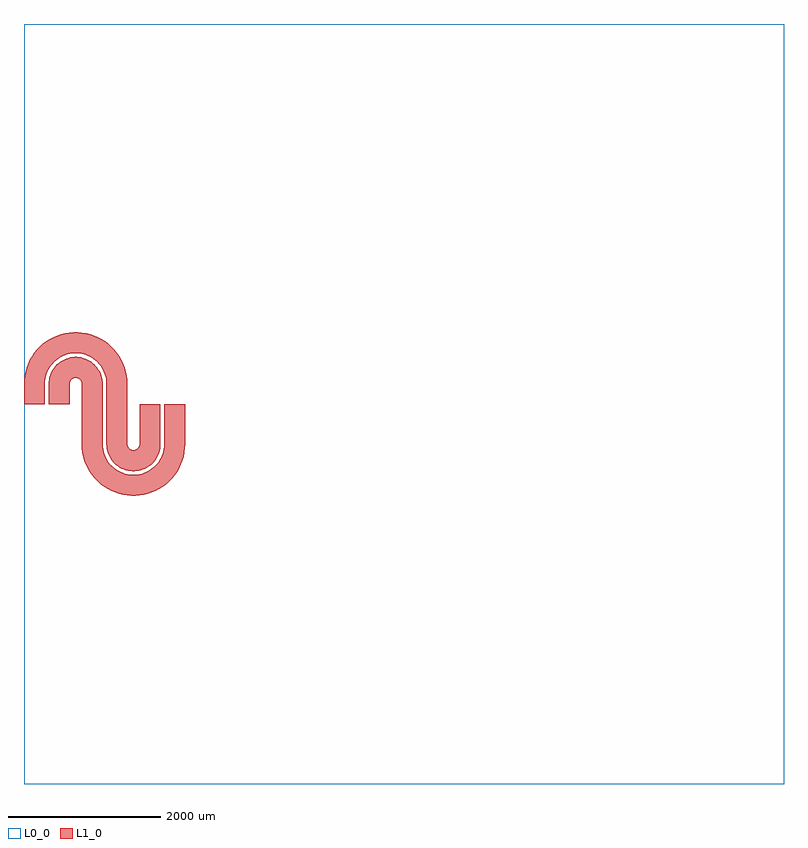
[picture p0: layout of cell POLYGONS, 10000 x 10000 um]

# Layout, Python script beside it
#!/usr/bin/env python
import os
from resgds import *
import bragg
from interface import Interface
import gdspy # gds library
import numpy as np
#from subprocess import call # Use to call kaloput_viewer bash script
#import psutil # Use to check if klayout is running already

# Layout filename
layout_file ='design.gds'

# Parameters
#__________________________________________________________
sub_x, sub_y = [4000, 9000] # substrate dimensions
wc, gc, lc = [8.11, 17.85, 8108.45] # Cavity width, gap, length
wlow, llow = [30.44, 4051.32]  # Low Z section
whigh, lhigh = [2, 4051.32] # High Z section
glow, ghigh = [.5*(wc + 2*gc - wlow),.5*(wc + 2*gc - whigh)]

rext, rlow, rhigh = [0, 55, 55] # radii

lext1, lext2 = [400, 1200] # Extrude lengths
lext3 = llow - lext1 - lext2 - 500*np.pi - 150*np.pi

# Start making resonator geometry
############################################################################

# Setup gds cell and gds object
poly_cell = gdspy.Cell('POLYGONS')
rs = Shapes(poly_cell)

# Substrate [layer 0]
sub = BuildRect(poly_cell, sub_x, sub_y, layer=0)
sub.make(0,0)

# Antidot array [layer 1]
layout = LayoutComponents(poly_cell, sub_x, sub_y,layer=1)
layout.make_antidot_array(0,0,10,30,0)

# Cavity [layer 2]
# I assign coordinates first, and then build geometries accordingly
############################################################################
coords = lambda x,dx=0: x+dx
xb_strt,yb_strt = [coords(725),coords(sub_y/2)- lext2 - lext3 - 100]
lcav1, lcav2, lcav3 = [1000, 5500, 1000]
taper_length = 100

cavity = Trench(wc, gc, poly_cell, layer = 2)

cav_x0,cav_y0 = [coords(xb_strt),coords(yb_strt,-lcav1)]
strait = cavity.straight_trench(lcav1-taper_length, cav_x0, cav_y0, orient='V')

cav_xtaper, cav_ytaper = [coords(xb_strt),coords(yb_strt,-taper_length)]

# cavity.thinning_trench(w1, w2, rat, cav_xtaper, cav_ytaper, 
#         taper_length, orientation='N',strait=strait)

cavity.taper(wc, gc, wlow, glow, cav_x0, 
        cav_y0+lcav1-taper_length, cav_x0, cav_y0+lcav1)

cav_x1,cav_y1 = [coords(xb_strt,-rlow),coords(yb_strt,-lcav1)]
cavity.halfarc_trench(rlow,cav_x1,cav_y1,orient='S',npoints=40)

cav_x2,cav_y2 = [coords(xb_strt,-2*rlow-wlow-2*glow),coords(yb_strt,-lcav1)]
cavity.straight_trench(lcav2,cav_x2,cav_y2,orient='V')

cav_x3,cav_y3 = [coords(xb_strt,-rlow),coords(yb_strt,lcav2-lcav1)]
cavity.halfarc_trench(rlow,cav_x3,cav_y3,orient='N',npoints=40)

cav_x4,cav_y4 = [coords(xb_strt),coords(yb_strt,lcav2-lcav1-lcav3+taper_length)]
cavend = cavity.straight_trench(lcav3-taper_length,cav_x4,cav_y4,orient='V')

cavity.taper(wlow, glow, wc, gc, cav_x4, 
       cav_y4-taper_length, cav_x4, cav_y4)

# Cavity removes [layer 3]
############################################################################

# Cavity Removes
rm_width = 4*wc + 2*gc
arcrad = .5*(2*rlow - gc - wc)

# Lower cevity extrude straight remove
cav_x0r, cav_y0r = [coords(cav_x0,-rm_width/2+wc/2+gc),coords(cav_y0)]
cavity_remove = BuildRect(poly_cell,rm_width, lcav1, layer = 3)
straight_remove_L = cavity_remove.make(cav_x0r,cav_y0r,layer=3)

# Centre cavity straight remove
#cav_x1r, cav_y1r = [coords(cav_x0,-2*rlow-wlow-2*glow-rm_width/2),coords(yb_strt,-lcav1)]
cav_x1r, cav_y1r = [coords(cav_x2,-rm_width/2 + gc + wc/2),coords(yb_strt,-lcav1)]
cavity_remove = BuildRect(poly_cell,rm_width, lcav2, layer = 3)
straight_remove_C = cavity_remove.make(cav_x1r,cav_y1r,layer=3)

# Upper cavity straight remove
cav_x2r, cav_y2r = [coords(cav_x4,-rm_width/2 + wc/2+gc),coords(cav_y4)]
cavity_remove = BuildRect(poly_cell,rm_width, lcav3, layer = 3)
straight_remove_U = cavity_remove.make(cav_x2r,cav_y2r-taper_length,layer=3)

# Lower cavity halfarc remove
rad = (cav_x0r - (cav_x1r + rm_width))/2
cav_xhfrL, cav_yhfrL = [coords(cav_x0r, - rad),coords(cav_y1)]
cav_harc_remove = rs.make_halfarc(rad, rm_width,
	cav_xhfrL, cav_yhfrL, orientation='S', npoints=40, layer=3) 

# Upper cavity halfarc remove
cav_xhfrU, cav_yhfrU = [coords(cav_x0r, - rad),coords(cav_y1,lcav2)]
cav_harc_remove = rs.make_halfarc(rad, rm_width,
	cav_xhfrU, cav_yhfrU, orientation='N', npoints=40, layer=3) 

# Bragg Mirror Sections [layer 2]
###########################################################################
no_periods = 4
highZ = bragg.Bragg(whigh, ghigh, lhigh, poly_cell, radius=rhigh, layer=2)
lowZ = bragg.Bragg(wlow, glow, llow, poly_cell, radius=rlow, layer=2)

# Vectors to store shifting numbers for making mirrors
arr_l = np.repeat(np.arange(0,no_periods),2*np.ones(no_periods,dtype=int))
arr_h = np.append(arr_l[1:],[no_periods], axis=0)

# Make lower Bragg periods
make_lowZ = lambda i: lowZ.mirror(xb_strt + arr_h[i]*highZ.mirror_width()
        + arr_l[i]*lowZ.mirror_width(), yb_strt, w_remove=wc, g_remove=gc)

make_highZ = lambda i: highZ.mirror(xb_strt + arr_h[i]*highZ.mirror_width()
        + arr_l[i]*lowZ.mirror_width(), yb_strt, w_remove=wc, g_remove=gc)

[make_lowZ(x) for x in range(len(arr_l)) if x % 2 == 0]
[make_highZ(x) for x in range(len(arr_l)) if x % 2 == 1]

# Make upper Bragg periods
xb_strtr = xb_strt
yb_strtr = cavend[1][0][1] - taper_length

make_lowZ = lambda i: lowZ.rotate_mirror2(xb_strtr + arr_h[i]*highZ.mirror_width()
        + arr_l[i]*lowZ.mirror_width(), yb_strtr,w_remove=wc, g_remove=gc)

make_highZ = lambda i: highZ.rotate_mirror2(xb_strtr + arr_h[i]*highZ.mirror_width()
        + arr_l[i]*lowZ.mirror_width(), yb_strtr,w_remove=wc, g_remove = gc)

[make_lowZ(x) for x in range(len(arr_l)) if x % 2 == 0]
[make_highZ(x) for x in range(len(arr_l)) if x % 2 == 1]


# Feedline sections [layer 2]
#
#

# Lower feed sections 
#
l1, l2, l3, arc = highZ.section_lengths(wc,gc)
cc, ratio, bond_pad, rfeed = [2*ghigh, .5, 400, 100]
feedin_length, feedlink_length, feed_st_length = [100,685,1600]
rstrt = rlow + 100
rlow = 100

# Low Z feedline sections 
feedline_low = Trench(wlow,glow,poly_cell, layer=2)

xf0Low = xb_strtr + no_periods*(lowZ.mirror_width() + highZ.mirror_width())
yf0Low = yb_strt
feedline_low.straight_trench(l1,xf0Low,yf0Low,orient='V')

xf1Low,yf1Low = [coords(xf0Low,rstrt+2*gc+wc),coords(yf0Low,l1)]
feedline_low.halfarc_trench(rstrt,xf1Low, yf1Low,orient='N',npoints=40)

xf2Low,yf2Low = [coords(xf1Low,rstrt),coords(yf1Low)]
feedline_low.straight_trench(-l2,xf2Low,yf2Low,orient='V')

xf3Low,yf3Low = [coords(xf2Low),coords(yf2Low,-l2)]
feedline_low.straight_trench(-l3/4,xf3Low,yf3Low,orient='V')

xf4Low,yf4Low = [coords(xf3Low,-rlow),coords(yf3Low,-l3/4)]
feedline_low.quarterarc_trench(rlow,xf4Low,yf4Low,orient='SE',npoints=20)

xf5Low,yf5Low = [coords(xf4Low,-3*l3/4-arc/2+230),coords(yf4Low,-2*glow - wlow - rlow)]
feedline_low.straight_trench(3*l3/4+arc/2-230,xf5Low,yf5Low,orient='H')

# High Z feedline sections
feedline_high = Trench(whigh,ghigh,poly_cell, layer=2)

xf0High,yf0High = [coords(xf5Low,-l2-733/2),coords(yf5Low)]
feedline_high.straight_trench(l2+733/2,xf0High,yf0High,orient='H')

xf1High,yf1High = [coords(xf0High),coords(yf0High,-rhigh)]
feedline_high.halfarc_trench(rhigh,xf1High, yf1High,orient='W',npoints=40)

xf2High,yf2High = [coords(xf1High),coords(yf1High,-rhigh - 2*ghigh - whigh)]
feedline_high.straight_trench(l3+l1-733/2,xf2High,yf2High,orient='H')

xf3High,yf3High = [coords(xf2High,l3+l1-733/2),coords(yf2High,-rhigh)]
feedline_high.quarterarc_trench(rhigh,xf3High,yf3High,orient='NE',npoints=20)

xf4High,yf4High = [coords(xf3High,rhigh),coords(yf3High,-arc/2)]
feedline_high.straight_trench(arc/2,xf4High,yf4High,orient='V')

# Lower feedbond
xf5High,yf5High = [coords(xf4High,-2*whigh-4*ghigh),coords(yf4High-arc/2)]
feed_lower = LayoutComponents(poly_cell, xf5High,yf5High, width=whigh, gap=ghigh, layer=2)
feedbond = feed_lower.make_feedbond(arc/2,cc, ratio, bond_pad, 
	xf4High, yf4High, orientation='N')

# Lower feed removes
x0_fdRem_L, y0_fdRem_L = [coords(xf0Low,-rm_width/2 + wlow/2 + glow),coords(yf0Low,l1)]
feed_remove_L = BuildRect(poly_cell,rm_width, -l1, layer = 3)
feed_remove_L.make(x0_fdRem_L,y0_fdRem_L,layer=3)

rad_feed = abs(.5*(x0_fdRem_L - (xf2Low + .5*(whigh + 2*ghigh) + rm_width/2)))

x1_fdRem_L, y1_fdRem_L = [coords(x0_fdRem_L + rad_feed),coords(yf1Low)]
rs.make_halfarc(-rad_feed, rm_width, x1_fdRem_L, y1_fdRem_L, 
	orientation='S', npoints=40, layer=3) 

x2_fdRem_L, y2_fdRem_L = [coords(x1_fdRem_L,rad_feed-rm_width),coords(y1_fdRem_L)]
feed_remove_L = BuildRect(poly_cell,rm_width, -l2-l3/4, layer = 3)
feed_remove_L.make(x2_fdRem_L,y2_fdRem_L,layer=3)

rqarc = x2_fdRem_L+rm_width-xf4Low

x3_fdRem_L, y3_fdRem_L = [coords(x2_fdRem_L-rqarc+rm_width),coords(y2_fdRem_L,-l2-l3/4)]
rs.make_quarterarc(rqarc, -rm_width, x3_fdRem_L, y3_fdRem_L, 
	orientation='SE', npoints=20, layer=3) 

x4_fdRem_L, y4_fdRem_L = [coords(x3_fdRem_L),coords(y3_fdRem_L,-rqarc)]
feed_remove_L = BuildRect(poly_cell,-3*l3/4-arc/2+230-l2-733/2,rm_width, layer = 3)
feed_remove_L.make(x4_fdRem_L,y4_fdRem_L,layer=3)

rharc = abs(.5*(y4_fdRem_L - (yf2High + .5*(whigh + 2*ghigh) + rm_width/2)))
x5_fdRem_L, y5_fdRem_L = [coords(x4_fdRem_L,-3*l3/4-arc/2+230-l2-733/2),coords(y4_fdRem_L,-rharc)]
rs.make_halfarc(rharc, rm_width, x5_fdRem_L, y5_fdRem_L, 
	orientation='W', npoints=40, layer=3) 

x6_fdRem_L, y6_fdRem_L = [coords(x5_fdRem_L),coords(y5_fdRem_L,-rharc-rm_width)]
feed_remove_L = BuildRect(poly_cell,l1+l3-733/2,rm_width, layer = 3)
feed_remove_L.make(x6_fdRem_L,y6_fdRem_L,layer=3)

x7_fdRem_L, y7_fdRem_L = [coords(x6_fdRem_L,l1+l3-733/2),coords(y6_fdRem_L)]
rqarc2 = xf4High+rm_width-x7_fdRem_L-12
rs.make_quarterarc(-rqarc2, rm_width, x7_fdRem_L, y7_fdRem_L-rqarc2+rm_width, 
	orientation='SW', npoints=20, layer=3) 

x8_fdRem_L, y8_fdRem_L = [coords(x7_fdRem_L,rharc),coords(y7_fdRem_L,-arc/2-rharc)]
feed_remove_L = BuildRect(poly_cell,rm_width, arc/2, layer = 3)
feed_remove_L.make(x8_fdRem_L,y8_fdRem_L,layer=3)

feed_remove = feed_lower.make_feedbond_remove(arc/2,cc, ratio, 
        bond_pad, x8_fdRem_L,y8_fdRem_L,x8_fdRem_L,
        y8_fdRem_L,x8_fdRem_L+rm_width, orientation='N')

# Upper feedline sections
#

# Low Z feedline sections
feedline_low = Trench(wlow,glow,poly_cell, layer=2)

xf0Low= xb_strtr + no_periods*(lowZ.mirror_width() + highZ.mirror_width())
yf0Low = yb_strtr
feedline_low.straight_trench(-l1,xf0Low,yf0Low,orient='V')

xf1Low,yf1Low = [coords(xf0Low,rstrt+2*gc+wc),coords(yf0Low,-l1)]
feedline_low.halfarc_trench(rstrt,xf1Low, yf1Low,orient='S',npoints=40)

xf2Low,yf2Low = [coords(xf1Low,rstrt),coords(yf1Low)]
feedline_low.straight_trench(l2,xf2Low,yf2Low,orient='V')

xf3Low,yf3Low = [coords(xf2Low),coords(yf2Low,l2)]
feedline_low.straight_trench(l3/4,xf3Low,yf3Low,orient='V')

xf4Low,yf4Low = [coords(xf3Low,-rlow),coords(yf3Low,l3/4)]
feedline_low.quarterarc_trench(rlow,xf4Low,yf4Low,orient='NE',npoints=20)

xf5Low,yf5Low = [coords(xf4Low,-3*l3/4-arc/2),coords(yf4Low,rlow)]
feedline_low.straight_trench(3*l3/4+arc/2,xf5Low,yf5Low,orient='H')

# High Z feedline sections
xf0High,yf0High = [coords(xf5Low,-l2),coords(yf5Low)]
feedline_high.straight_trench(l2,xf0High,yf0High,orient='H')

xf1High,yf1High = [coords(xf0High),coords(yf0High,rhigh + 2*ghigh + whigh)]
feedline_high.halfarc_trench(rhigh,xf1High, yf1High,orient='W',npoints=40)

xf2High,yf2High = [coords(xf1High),coords(yf1High,rhigh )]
feedline_high.straight_trench(l3+l1-733/2,xf2High,yf2High,orient='H')

xf3High,yf3High = [coords(xf2High,l3+l1-733/2),coords(yf2High,rhigh + 2*ghigh + whigh)]
feedline_high.quarterarc_trench(rhigh,xf3High,yf3High,orient='SE',npoints=20)

xf4High,yf4High = [coords(xf3High,rhigh),coords(yf3High)]
feedline_high.straight_trench(arc/2,xf4High,yf4High,orient='V')

# Lower feedbond
xf5High,yf5High = [coords(xf4High,-2*whigh-4*ghigh),coords(yf4High-arc/2)]
feed_lower = LayoutComponents(poly_cell, xf5High,yf5High, width=whigh, gap=ghigh, layer=2)
feedbond = feed_lower.make_feedbond(arc/2,cc, ratio, bond_pad, 
	xf4High, yf4High+arc/2, orientation='S')

# # Upper feed removes
# x0_fdRem_U, y0_fdRem_U = [coords(xf0Low,-rm_width/2 + wlow/2 + glow),coords(yf0Low,-l1)]
# feed_remove_U = BuildRect(poly_cell,rm_width, l1, layer = 3)
# feed_remove_U.make(x0_fdRem_U,y0_fdRem_U,layer=3)


# x1_fdRem_U, y1_fdRem_U = [coords(x0_fdRem_U + rad_feed),coords(yf1Low)]
# rs.make_halfarc(-rad_feed, rm_width, x1_fdRem_U, y1_fdRem_U, 
# 	orientation='N', npoints=40, layer=3) 

# x2_fdRem_U, y2_fdRem_U = [coords(x1_fdRem_U,rad_feed-rm_width),coords(y1_fdRem_U)]
# feed_remove_U = BuildRect(poly_cell,rm_width, l2+l3/4, layer = 3)
# feed_remove_U.make(x2_fdRem_U,y2_fdRem_U,layer=3)

# x3_fdRem_U, y3_fdRem_U = [coords(x1_fdRem_U),coords(y2_fdRem_U,l2+l3/4)]
# rs.make_quarterarc(-rad_feed, rm_width, x3_fdRem_U, y3_fdRem_U, 
# 	orientation='SW', npoints=20, layer=3) 

# x4_fdRem_U, y4_fdRem_U = [coords(x3_fdRem_U),coords(y3_fdRem_U,rad_feed-rm_width)]
# feed_remove_U = BuildRect(poly_cell,-l2-3*l3/4-arc/2,rm_width, layer = 3)
# feed_remove_U.make(x4_fdRem_U,y4_fdRem_U,layer=3)

# x5_fdRem_U, y5_fdRem_U = [coords(x4_fdRem_U,-l2-3*l3/4-arc/2),coords(y4_fdRem_U,rad_feed)]
# rs.make_halfarc(-rad_feed, rm_width, x5_fdRem_U, y5_fdRem_U, 
# 	orientation='E', npoints=40, layer=3) 

# x6_fdRem_U, y6_fdRem_U = [coords(x5_fdRem_U),coords(y5_fdRem_U,rad_feed-rm_width)]
# feed_remove_U = BuildRect(poly_cell,l1+l3-733/2,rm_width, layer = 3)
# feed_remove_U.make(x6_fdRem_U,y6_fdRem_U,layer=3)

# x7_fdRem_U, y7_fdRem_U = [coords(x6_fdRem_U,l1+l3-733/2),coords(y6_fdRem_U,rad_feed)]
# rs.make_quarterarc(-rad_feed, rm_width, x7_fdRem_U, y7_fdRem_U, 
# 	orientation='NW', npoints=20, layer=3) 

# x8_fdRem_U, y8_fdRem_U = [coords(x7_fdRem_U,rad_feed-rm_width),coords(y7_fdRem_U,arc/2)]
# feed_remove_U = BuildRect(poly_cell,rm_width, -arc/2, layer = 3)
# feed_remove_U.make(x8_fdRem_U,y8_fdRem_U,layer=3)

# feed_remove = feed_lower.make_feedbond_remove(-arc/2,cc, ratio, 
#         bond_pad, x8_fdRem_U,y8_fdRem_U,x8_fdRem_U,
#         y8_fdRem_U,x8_fdRem_U+rm_width, orientation='S')

###########################################################################
# Make gds file and open up klayout
inter = Interface()
inter.klayout(layout_file)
